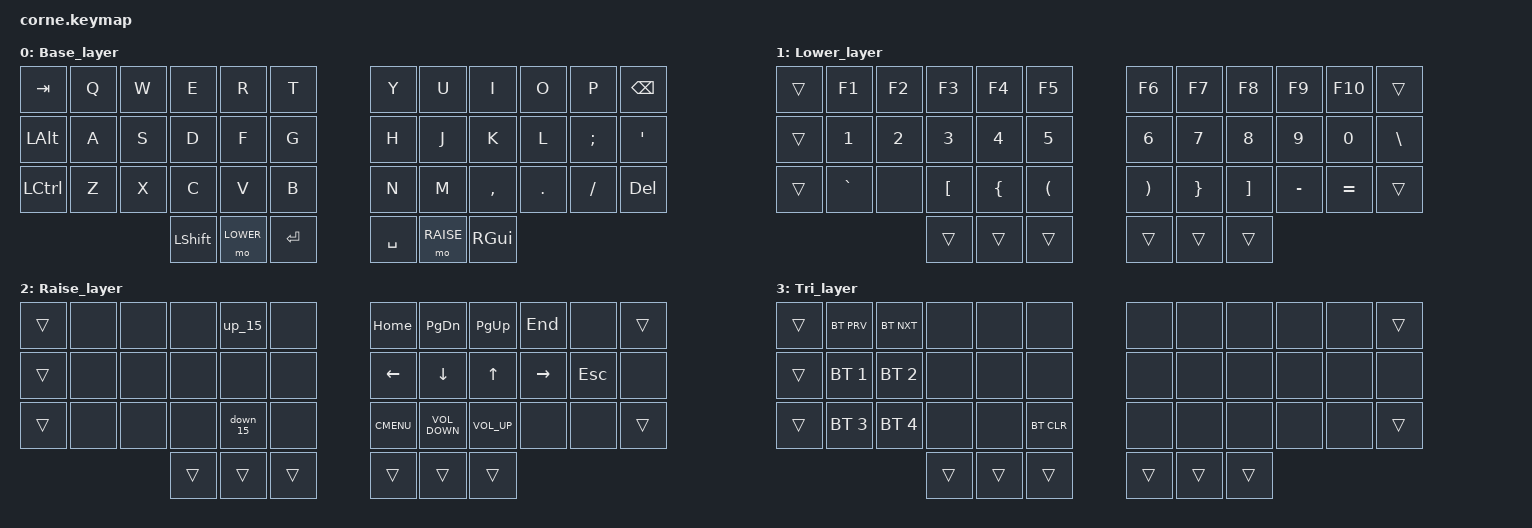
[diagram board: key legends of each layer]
#include <behaviors.dtsi>
#include <dt-bindings/zmk/keys.h>
#include <dt-bindings/zmk/bt.h>

#define BASE 0
#define LOWER 1
#define RAISE 2

/ {

  conditional_layers {
      compatible = "zmk,conditional-layers";
      tri_layer {
          if-layers = <1 2>;
          then-layer = <3>;
      };
  };

  macros {
      down_15: down_15 {
          label = "down_15";
          compatible = "zmk,behavior-macro";
          tap-ms = <0>;
          #binding-cells = <0>;
          bindings
              = <&macro_tap &kp DOWN &kp DOWN &kp DOWN &kp DOWN &kp DOWN &kp DOWN &kp DOWN &kp DOWN &kp DOWN &kp DOWN &kp DOWN &kp DOWN &kp DOWN &kp DOWN &kp DOWN>;
      };

      up_15: up_15 {
          label = "up_15";
          compatible = "zmk,behavior-macro";
          tap-ms = <0>;
          #binding-cells = <0>;
          bindings
              = <&macro_tap &kp UP &kp UP &kp UP &kp UP &kp UP &kp UP &kp UP &kp UP &kp UP &kp UP &kp UP &kp UP &kp UP &kp UP &kp UP>;
      };
  };


  keymap {
    compatible = "zmk,keymap";

    Base_layer {
      bindings = <
        &kp TAB          &kp Q        &kp W        &kp E            &kp R              &kp T                &kp Y                 &kp U             &kp I             &kp O        &kp P         &kp BACKSPACE 
        &kp LEFT_ALT     &kp A        &kp S        &kp D            &kp F              &kp G                &kp H                 &kp J             &kp K             &kp L        &kp SEMICOLON &kp SINGLE_QUOTE 
        &kp LEFT_CONTROL &kp Z        &kp X        &kp C            &kp V              &kp B                &kp N                 &kp M             &kp COMMA         &kp PERIOD   &kp SLASH     &kp DEL 
                                                   &kp LEFT_SHIFT   &mo LOWER          &kp RETURN           &kp SPACE             &mo RAISE         &kp RIGHT_GUI 
      >;
    };

    Lower_layer {
      bindings = <
        &trans           &kp F1       &kp F2       &kp F3           &kp F4             &kp F5               &kp F6                &kp F7            &kp F8            &kp F9       &kp F10       &trans 
        &trans           &kp NUMBER_1 &kp NUMBER_2 &kp NUMBER_3     &kp NUMBER_4       &kp NUMBER_5         &kp NUMBER_6          &kp NUMBER_7      &kp NUMBER_8      &kp NUMBER_9 &kp NUMBER_0  &kp BACKSLASH 
        &trans           &kp GRAVE    &none        &kp LEFT_BRACKET &kp LEFT_BRACE     &kp LEFT_PARENTHESIS &kp RIGHT_PARENTHESIS &kp RIGHT_BRACE   &kp RIGHT_BRACKET &kp MINUS    &kp EQUAL     &trans 
                                                   &trans           &trans             &trans               &trans                &trans            &trans 
      >;
    };

    Raise_layer {
      bindings = <
        &trans           &none        &none        &none            &up_15             &none                &kp HOME              &kp PG_DN         &kp PG_UP         &kp END      &none         &trans 
        &trans           &none        &none        &none            &none              &none                &kp LEFT              &kp DOWN          &kp UP            &kp RIGHT    &kp ESCAPE    &none  
        &trans           &none        &none        &none            &down_15           &none                &kp K_CMENU           &kp C_VOLUME_DOWN &kp C_VOLUME_UP   &none        &none         &trans   
                                                   &trans           &trans             &trans               &trans                &trans            &trans 
      >;
    };

    Tri_layer {
      bindings = <
        &trans           &bt BT_PRV   &bt BT_NXT   &none            &none              &none                &none                 &none             &none             &none        &none         &trans 
        &trans           &bt BT_SEL 1 &bt BT_SEL 2 &none            &none              &none                &none                 &none             &none             &none        &none         &none 
        &trans           &bt BT_SEL 3 &bt BT_SEL 4 &none            &none              &bt BT_CLR           &none                 &none             &none             &none        &none         &trans 
                                                   &trans           &trans             &trans               &trans                &trans            &trans 
      >;
    };

  };
};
